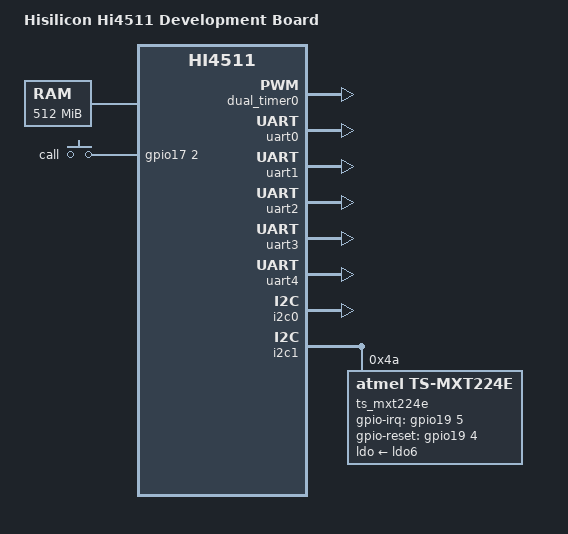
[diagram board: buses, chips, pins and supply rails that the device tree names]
/*
 *  Copyright (C) 2012-2013 Linaro Ltd.
 *  Author: Haojian Zhuang <haojian.zhuang@linaro.org>
 *
 *  This program is free software; you can redistribute it and/or modify
 *  it under the terms of the GNU General Public License version 2 as
 *  publishhed by the Free Software Foundation.
 */

/dts-v1/;

#include "hi3620.dtsi"

/ {
	model = "Hisilicon Hi4511 Development Board";
	compatible = "hisilicon,hi3620-hi4511";

	chosen {
		bootargs = "console=ttyAMA0,115200 root=/dev/ram0 earlyprintk";
	};

	memory {
		device_type = "memory";
		reg = <0x40000000 0x20000000>;
	};

	amba {
		dual_timer0: dual_timer@800000 {
			status = "ok";
		};

		uart0: uart@b00000 {	/* console */
			pinctrl-names = "default", "idle";
			pinctrl-0 = <&uart0_pmx_func &uart0_cfg_func>;
			pinctrl-1 = <&uart0_pmx_idle &uart0_cfg_idle>;
			status = "ok";
		};

		uart1: uart@b01000 { /* modem */
			pinctrl-names = "default", "idle";
			pinctrl-0 = <&uart1_pmx_func &uart1_cfg_func>;
			pinctrl-1 = <&uart1_pmx_idle &uart1_cfg_idle>;
			status = "ok";
		};

		uart2: uart@b02000 { /* audience */
			pinctrl-names = "default", "idle";
			pinctrl-0 = <&uart2_pmx_func &uart2_cfg_func>;
			pinctrl-1 = <&uart2_pmx_idle &uart2_cfg_idle>;
			status = "ok";
		};

		uart3: uart@b03000 {
			pinctrl-names = "default", "idle";
			pinctrl-0 = <&uart3_pmx_func &uart3_cfg_func>;
			pinctrl-1 = <&uart3_pmx_idle &uart3_cfg_idle>;
			status = "ok";
		};

		uart4: uart@b04000 {
			pinctrl-names = "default", "idle";
			pinctrl-0 = <&uart4_pmx_func &uart4_cfg_func>;
			pinctrl-1 = <&uart4_pmx_idle &uart4_cfg_func>;
			status = "ok";
		};

		i2c0: i2c@b08000 {
			status = "ok";
			pinctrl-names = "default", "idle";
			pinctrl-0 = <&i2c0_pmx_func &i2c0_cfg_func>;
			pinctrl-1 = <&i2c0_pmx_idle &i2c0_cfg_func>;
		};

		i2c1: i2c@b09000 {
			status = "ok";
			pinctrl-names = "default";
			pinctrl-0 = <&i2c1_pmx_func &i2c1_cfg_func>;
			ts_mxt224e: ts@4a {
				compatible = "atmel,ts-mxt224e";
				reg = <0x4a>;
				ldo-supply = <&ldo6>;
				pinctrl-names = "default";
				pinctrl-0 = <&ts_pin_cfg>;
				atmel-ts,gpio-irq = <&gpio19 5 0>;
				atmel-ts,gpio-reset = <&gpio19 4 0>;
				/* min max: x y pressure width */
				atmel-ts,abs = <0 719 0 1279 0 255 0 255>;
				atmel-ts,cfg_t6 = /bits/ 8 <0 0 0 0 0 0>;
				atmel-ts,cfg_t7 = /bits/ 8 <32 255 10>;
				atmel-ts,cfg_t8 = /bits/ 8 <24 0 1 10 0 0 5 60 10 192>;
				atmel-ts,cfg_t9 = /bits/ 8 <143 0 0 19 11 0 32 66 2 3 0 2 2 47 10 15 22 10 106 5
									207 2 0 0 0 0 161 40 183 64 30 20 0 0 1>;
				atmel-ts,cfg_t15 = /bits/ 8 <0 0 0 0 0 0 0 0 0 0 0>;
				atmel-ts,cfg_t19 = /bits/ 8 <0 0 0 0 0 0 0 0 0 0 0 0 0 0 0 0>;
				atmel-ts,cfg_t23 = /bits/ 8 <0 0 0 0 0 0 0 0 0 0 0 0 0 0 0>;
				atmel-ts,cfg_t25 = /bits/ 8 <0 0 0 0 0 0 0 0 0 0 0 0 0 0>;
				atmel-ts,cfg_t40 = /bits/ 8 <0 0 0 0 0>;
				atmel-ts,cfg_t42 = /bits/ 8 <0 40 40 80 128 0 0 0>;
				atmel-ts,cfg_t46 = /bits/ 8 <0 3 32 32 0 0 0 0 0>;
				atmel-ts,cfg_t47 = /bits/ 8 <0 20 50 5 2 40 40 180 0 100>;
				atmel-ts,cfg_t48 = /bits/ 8 <1 4 10 0 0 0 0 0 1 1 0 0 0 6 6 0 0 63 6 64
						10 0 20 5 0 38 0 20 0 0 0 0 0 0 0 40 2 2 2 32
						10 12 20 241 251 0 0 191 40 183 64 30 15 0>;
				atmel-ts,object_crc = /bits/ 8 <0xFD 0x3B 0x8D>;
				atmel-ts,cable_config = /bits/ 8 <70 30 32 32>;
				atmel-ts,cable_config_t7 = /bits/ 8 <32 16 25>;
				atmel-ts,cable_config_t8 = /bits/ 8 <24 0 5 5 0 0 5 60 10 192>;
				atmel-ts,cable_config_T9 = /bits/ 8 <139 0 0 19 11 0 32 66 2 3 0 5 2 64 10
					12 20 10 106 5 207 2 0 0 0 0 161 40 183 64 30 20 0 0 0>;
				atmel-ts,cable_config_t46 = /bits/ 8 <0 3 40 40 0 0 0 0 0>;
				atmel-ts,cable_config_t48 = /bits/ 8 <1 128 114 0 0 0 0 0 1 2 0 0 0 6 6
					0 0 63 6 64 10 0 20 5 0 38 0 20 0 0 0 0 0 0 0
					40 2 2 2 32 10 12 20 241 251 0 0 191 40 183 64 30 15 0>;
				atmel-ts,noise_config = /bits/ 8 <70 3 35>;
				atmel-ts,filter_level = /bits/ 16 <0 0 539 539>;
				atmel-ts,gcaf_level = /bits/ 8 <8 16 24 32 40>;
				atmel-ts,atch_nor = /bits/ 8 <0 0 5 60 10 192>;
				atmel-ts,atch_nor_20s = /bits/ 8 <0 0 255 1 0 0>;
			};
		};

		dwmmc1@d04000 {
			num-slots = <1>;
			vmmc-supply = <&ldo0>;
			vqmmc-supply = <&ldo5>;
			/* emmc fifo register value is incorrect */
			fifo-depth = <0x100>;
			broken-cd;
			supports-highspeed;
			pinctrl-names = "default";
			pinctrl-0 = <&emmc_pmx_func &emmc_cfg_func &emmc_cfg_clk_func>;
			slot@0 {
				reg = <0>;
				bus-width = <8>;
				disable-wp;
			};
		};

		dwmmc0@d03000 {
			num-slots = <1>;
			vmmc-supply = <&ldo12>;
			fifo-depth = <0x100>;
			supports-highspeed;
			cd-inverted;
			pinctrl-names = "default";
			pinctrl-0 = <&sd_pmx_pins &sd_cfg_func1 &sd_cfg_func2>;
			slot@0 {
				reg = <0>;
				bus-width = <4>;
				disable-wp;
				cd-gpios = <&gpio10 3 0>;
			};
		};

		dwmmc2@d05000 {
			status = "disabled";
		};

		dwmmc3@d06000 {
			status = "disabled";
		};
		pmic: pmic@c00000 {
			gpios = <&gpio19 7 0>;
			pinctrl-names = "default";
			pinctrl-0 = <&pmic_int_cfg_func>;
			ldo0: ldo@20 {
				compatible = "hisilicon,hi6421-ldo";
				regulator-name = "LDO0";
				regulator-min-microvolt = <2850000>;
				regulator-max-microvolt = <2850000>;
				hisilicon,hi6421-ctrl = <0x20 0x10 0x20>;
				hisilicon,hi6421-vset = <0x20 0x07>;
				hisilicon,hi6421-n-voltages = <8>;
				hisilicon,hi6421-vset-table = <1500000>, <1800000>,
							      <2400000>, <2500000>,
							      <2600000>, <2700000>,
							      <2850000>, <3000000>;
				hisilicon,hi6421-off-on-delay-us = <10000>;
				hisilicon,hi6421-enable-time-us = <250>;
				hisilicon,hi6421-eco-microamp = <8000>;
			};

			ldo1: ldo@21 {
				compatible = "hisilicon,hi6421-ldo";
				regulator-name = "LDO1";
				regulator-min-microvolt = <1700000>;
				regulator-max-microvolt = <2000000>;
				regulator-boot-on;
				regulator-always-on;
				hisilicon,hi6421-ctrl = <0x21 0x10 0x20>;
				hisilicon,hi6421-vset = <0x21 0x03>;
				hisilicon,hi6421-n-voltages = <4>;
				hisilicon,hi6421-vset-table = <1700000>, <1800000>,
							      <1900000>, <2000000>;
				hisilicon,hi6421-off-on-delay-us = <10000>;
				hisilicon,hi6421-enable-time-us = <250>;
				hisilicon,hi6421-eco-microamp = <5000>;
			};

			ldo2: ldo@22 {
				compatible = "hisilicon,hi6421-ldo";
				regulator-name = "LDO2";
				regulator-min-microvolt = <1050000>;
				regulator-max-microvolt = <1400000>;
				regulator-boot-on;
				regulator-always-on;
				hisilicon,hi6421-ctrl = <0x22 0x10 0x20>;
				hisilicon,hi6421-vset = <0x22 0x07>;
				hisilicon,hi6421-n-voltages = <8>;
				hisilicon,hi6421-vset-table = <1050000>, <1100000>,
							      <1150000>, <1200000>,
							      <1250000>, <1300000>,
							      <1350000>, <1400000>;
				hisilicon,hi6421-off-on-delay-us = <20000>;
				hisilicon,hi6421-enable-time-us = <250>;
				hisilicon,hi6421-eco-microamp = <8000>;
			};

			ldo3: ldo@23 {
				compatible = "hisilicon,hi6421-ldo";
				regulator-name = "LDO3";
				regulator-min-microvolt = <1050000>;
				regulator-max-microvolt = <1400000>;
				regulator-boot-on;
				regulator-always-on;
				hisilicon,hi6421-ctrl = <0x23 0x10 0x20>;
				hisilicon,hi6421-vset = <0x23 0x07>;
				hisilicon,hi6421-n-voltages = <8>;
				hisilicon,hi6421-vset-table = <1050000>, <1100000>,
							      <1150000>, <1200000>,
							      <1250000>, <1300000>,
							      <1350000>, <1400000>;
				hisilicon,hi6421-off-on-delay-us = <20000>;
				hisilicon,hi6421-enable-time-us = <250>;
				hisilicon,hi6421-eco-microamp = <8000>;
			};

			ldo4: ldo@24 {
				compatible = "hisilicon,hi6421-ldo";
				regulator-name = "LDO4";
				regulator-min-microvolt = <1500000>;
				regulator-max-microvolt = <3000000>;
				regulator-boot-on;
				regulator-always-on;
				hisilicon,hi6421-ctrl = <0x24 0x10 0x20>;
				hisilicon,hi6421-vset = <0x24 0x07>;
				hisilicon,hi6421-n-voltages = <8>;
				hisilicon,hi6421-vset-table = <1500000>, <1800000>,
							      <2400000>, <2500000>,
							      <2600000>, <2700000>,
							      <2850000>, <3000000>;
				hisilicon,hi6421-off-on-delay-us = <20000>;
				hisilicon,hi6421-enable-time-us = <250>;
				hisilicon,hi6421-eco-microamp = <8000>;
			};

			ldo5: ldo@25 {
				compatible = "hisilicon,hi6421-ldo";
				regulator-name = "LDO5";
				regulator-min-microvolt = <1500000>;
				regulator-max-microvolt = <3000000>;
				regulator-boot-on;
				regulator-always-on;
				hisilicon,hi6421-ctrl = <0x25 0x10 0x20>;
				hisilicon,hi6421-vset = <0x25 0x07>;
				hisilicon,hi6421-n-voltages = <8>;
				hisilicon,hi6421-vset-table = <1500000>, <1800000>,
							      <2400000>, <2500000>,
							      <2600000>, <2700000>,
							      <2850000>, <3000000>;
				hisilicon,hi6421-off-on-delay-us = <20000>;
				hisilicon,hi6421-enable-time-us = <250>;
				hisilicon,hi6421-eco-microamp = <8000>;
			};

			ldo6: ldo@26 {
				compatible = "hisilicon,hi6421-ldo";
				regulator-name = "LDO6";
				regulator-min-microvolt = <1500000>;
				regulator-max-microvolt = <3000000>;
				regulator-boot-on;
				regulator-always-on;
				hisilicon,hi6421-ctrl = <0x26 0x10 0x20>;
				hisilicon,hi6421-vset = <0x26 0x07>;
				hisilicon,hi6421-n-voltages = <8>;
				hisilicon,hi6421-vset-table = <1500000>, <1800000>,
							      <2400000>, <2500000>,
							      <2600000>, <2700000>,
							      <2850000>, <3000000>;
				hisilicon,hi6421-off-on-delay-us = <20000>;
				hisilicon,hi6421-enable-time-us = <250>;
				hisilicon,hi6421-eco-microamp = <8000>;
			};

			ldo7: ldo@27 {
				compatible = "hisilicon,hi6421-ldo";
				regulator-name = "LDO7";
				regulator-min-microvolt = <1500000>;
				regulator-max-microvolt = <3000000>;
				regulator-boot-on;
				regulator-always-on;
				hisilicon,hi6421-ctrl = <0x27 0x10 0x20>;
				hisilicon,hi6421-vset = <0x27 0x07>;
				hisilicon,hi6421-n-voltages = <8>;
				hisilicon,hi6421-vset-table = <1500000>, <1800000>,
							      <2400000>, <2500000>,
							      <2600000>, <2700000>,
							      <2850000>, <3000000>;
				hisilicon,hi6421-off-on-delay-us = <20000>;
				hisilicon,hi6421-enable-time-us = <250>;
				hisilicon,hi6421-eco-microamp = <5000>;
			};

			ldo8: ldo@28 {
				compatible = "hisilicon,hi6421-ldo";
				regulator-name = "LDO8";
				regulator-min-microvolt = <1500000>;
				regulator-max-microvolt = <3300000>;
				regulator-boot-on;
				regulator-always-on;
				hisilicon,hi6421-ctrl = <0x28 0x10 0x20>;
				hisilicon,hi6421-vset = <0x28 0x07>;
				hisilicon,hi6421-n-voltages = <8>;
				hisilicon,hi6421-vset-table = <1500000>, <1800000>,
							      <2400000>, <2600000>,
							      <2700000>, <2850000>,
							      <3000000>, <3300000>;
				hisilicon,hi6421-off-on-delay-us = <20000>;
				hisilicon,hi6421-enable-time-us = <250>;
				hisilicon,hi6421-eco-microamp = <8000>;
			};

			ldo9: ldo@29 {
				compatible = "hisilicon,hi6421-ldo";
				regulator-name = "LDO9";
				regulator-min-microvolt = <1500000>;
				regulator-max-microvolt = <3000000>;
				hisilicon,hi6421-ctrl = <0x29 0x10 0x20>;
				hisilicon,hi6421-vset = <0x29 0x07>;
				hisilicon,hi6421-n-voltages = <8>;
				hisilicon,hi6421-vset-table = <1500000>, <1800000>,
							      <2400000>, <2500000>,
							      <2600000>, <2700000>,
							      <2850000>, <3000000>;
				hisilicon,hi6421-off-on-delay-us = <40000>;
				hisilicon,hi6421-enable-time-us = <250>;
				hisilicon,hi6421-eco-microamp = <8000>;
			};

			ldo10: ldo@2a {
				compatible = "hisilicon,hi6421-ldo";
				regulator-name = "LDO10";
				regulator-min-microvolt = <1500000>;
				regulator-max-microvolt = <3000000>;
				hisilicon,hi6421-ctrl = <0x2a 0x10 0x20>;
				hisilicon,hi6421-vset = <0x2a 0x07>;
				hisilicon,hi6421-n-voltages = <8>;
				hisilicon,hi6421-vset-table = <1500000>, <1800000>,
							      <2400000>, <2500000>,
							      <2600000>, <2700000>,
							      <2850000>, <3000000>;
				hisilicon,hi6421-off-on-delay-us = <40000>;
				hisilicon,hi6421-enable-time-us = <250>;
				hisilicon,hi6421-eco-microamp = <8000>;
			};

			ldo11: ldo@2b {
				compatible = "hisilicon,hi6421-ldo";
				regulator-name = "LDO11";
				regulator-min-microvolt = <1500000>;
				regulator-max-microvolt = <3000000>;
				hisilicon,hi6421-ctrl = <0x2b 0x10 0x20>;
				hisilicon,hi6421-vset = <0x2b 0x07>;
				hisilicon,hi6421-n-voltages = <8>;
				hisilicon,hi6421-vset-table = <1500000>, <1800000>,
							      <2400000>, <2500000>,
							      <2600000>, <2700000>,
							      <2850000>, <3000000>;
				hisilicon,hi6421-off-on-delay-us = <40000>;
				hisilicon,hi6421-enable-time-us = <250>;
				hisilicon,hi6421-eco-microamp = <8000>;
			};

			ldo12: ldo@2c {
				compatible = "hisilicon,hi6421-ldo";
				regulator-name = "LDO12";
				regulator-min-microvolt = <2850000>;
				regulator-max-microvolt = <2850000>;
				hisilicon,hi6421-ctrl = <0x2c 0x10 0x20>;
				hisilicon,hi6421-vset = <0x2c 0x07>;
				hisilicon,hi6421-n-voltages = <8>;
				hisilicon,hi6421-vset-table = <1500000>, <1800000>,
							      <2400000>, <2500000>,
							      <2600000>, <2700000>,
							      <2850000>, <3000000>;
				hisilicon,hi6421-off-on-delay-us = <40000>;
				hisilicon,hi6421-enable-time-us = <250>;
				hisilicon,hi6421-eco-microamp = <8000>;
			};

			ldo13: ldo@2d {
				compatible = "hisilicon,hi6421-ldo";
				regulator-name = "LDO13";
				regulator-min-microvolt = <1500000>;
				regulator-max-microvolt = <3000000>;
				hisilicon,hi6421-ctrl = <0x2d 0x10 0x20>;
				hisilicon,hi6421-vset = <0x2d 0x07>;
				hisilicon,hi6421-n-voltages = <8>;
				hisilicon,hi6421-vset-table = <1500000>, <1800000>,
							      <2400000>, <2500000>,
							      <2600000>, <2700000>,
							      <2850000>, <3000000>;
				hisilicon,hi6421-off-on-delay-us = <40000>;
				hisilicon,hi6421-enable-time-us = <250>;
				hisilicon,hi6421-eco-microamp = <8000>;
			};

			ldo14: ldo@2e {
				compatible = "hisilicon,hi6421-ldo";
				regulator-name = "LDO14";
				regulator-min-microvolt = <1500000>;
				regulator-max-microvolt = <3000000>;
				hisilicon,hi6421-ctrl = <0x2e 0x10 0x20>;
				hisilicon,hi6421-vset = <0x2e 0x07>;
				hisilicon,hi6421-n-voltages = <8>;
				hisilicon,hi6421-vset-table = <1500000>, <1800000>,
							      <2400000>, <2500000>,
							      <2600000>, <2700000>,
							      <2850000>, <3000000>;
				hisilicon,hi6421-off-on-delay-us = <40000>;
				hisilicon,hi6421-enable-time-us = <250>;
				hisilicon,hi6421-eco-microamp = <8000>;
			};

			ldo15: ldo@2f {
				compatible = "hisilicon,hi6421-ldo";
				regulator-name = "LDO15";
				regulator-min-microvolt = <1500000>;
				regulator-max-microvolt = <3300000>;
				hisilicon,hi6421-ctrl = <0x2f 0x10 0x20>;
				hisilicon,hi6421-vset = <0x2f 0x07>;
				hisilicon,hi6421-n-voltages = <8>;
				hisilicon,hi6421-vset-table = <1500000>, <1800000>,
							      <2400000>, <2600000>,
							      <2700000>, <2850000>,
							      <3000000>, <3300000>;
				hisilicon,hi6421-off-on-delay-us = <40000>;
				hisilicon,hi6421-enable-time-us = <250>;
				hisilicon,hi6421-eco-microamp = <8000>;
			};

			ldo16: ldo@30 {
				compatible = "hisilicon,hi6421-ldo";
				regulator-name = "LDO16";
				regulator-min-microvolt = <1500000>;
				regulator-max-microvolt = <3000000>;
				regulator-always-on;
				hisilicon,hi6421-ctrl = <0x30 0x10 0x20>;
				hisilicon,hi6421-vset = <0x30 0x07>;
				hisilicon,hi6421-n-voltages = <8>;
				hisilicon,hi6421-vset-table = <1500000>, <1800000>,
							      <2400000>, <2500000>,
							      <2600000>, <2700000>,
							      <2850000>, <3000000>;
				hisilicon,hi6421-off-on-delay-us = <40000>;
				hisilicon,hi6421-enable-time-us = <250>;
				hisilicon,hi6421-eco-microamp = <8000>;
			};

			ldo17: ldo@31 {
				compatible = "hisilicon,hi6421-ldo";
				regulator-name = "LDO17";
				regulator-min-microvolt = <1500000>;
				regulator-max-microvolt = <3000000>;
				regulator-always-on;
				hisilicon,hi6421-ctrl = <0x31 0x10 0x20>;
				hisilicon,hi6421-vset = <0x31 0x07>;
				hisilicon,hi6421-n-voltages = <8>;
				hisilicon,hi6421-vset-table = <1500000>, <1800000>,
							      <2400000>, <2500000>,
							      <2600000>, <2700000>,
							      <2850000>, <3000000>;
				hisilicon,hi6421-off-on-delay-us = <40000>;
				hisilicon,hi6421-enable-time-us = <250>;
				hisilicon,hi6421-eco-microamp = <8000>;
			};

			ldo18: ldo@32 {
				compatible = "hisilicon,hi6421-ldo";
				regulator-name = "LDO18";
				regulator-min-microvolt = <1500000>;
				regulator-max-microvolt = <3000000>;
				hisilicon,hi6421-ctrl = <0x32 0x10 0x20>;
				hisilicon,hi6421-vset = <0x32 0x07>;
				hisilicon,hi6421-n-voltages = <8>;
				hisilicon,hi6421-vset-table = <1500000>, <1800000>,
							      <2400000>, <2500000>,
							      <2600000>, <2700000>,
							      <2850000>, <3000000>;
				hisilicon,hi6421-off-on-delay-us = <40000>;
				hisilicon,hi6421-enable-time-us = <250>;
				hisilicon,hi6421-eco-microamp = <8000>;
			};

			ldo19: ldo@33 {
				compatible = "hisilicon,hi6421-ldo";
				regulator-name = "LDO19";
				regulator-min-microvolt = <1500000>;
				regulator-max-microvolt = <3000000>;
				hisilicon,hi6421-ctrl = <0x2a 0x10 0x20>;
				hisilicon,hi6421-vset = <0x2a 0x07>;
				hisilicon,hi6421-n-voltages = <8>;
				hisilicon,hi6421-vset-table = <1500000>, <1800000>,
							      <2400000>, <2500000>,
							      <2600000>, <2700000>,
							      <2850000>, <3000000>;
				hisilicon,hi6421-off-on-delay-us = <40000>;
				hisilicon,hi6421-enable-time-us = <250>;
				hisilicon,hi6421-eco-microamp = <8000>;
			};

			ldo20: ldo@34 {
				compatible = "hisilicon,hi6421-ldo";
				regulator-name = "LDO20";
				regulator-min-microvolt = <1500000>;
				regulator-max-microvolt = <3000000>;
				hisilicon,hi6421-ctrl = <0x34 0x10 0x20>;
				hisilicon,hi6421-vset = <0x34 0x07>;
				hisilicon,hi6421-n-voltages = <8>;
				hisilicon,hi6421-vset-table = <1500000>, <1800000>,
							      <2400000>, <2500000>,
							      <2600000>, <2700000>,
							      <2850000>, <3000000>;
				hisilicon,hi6421-off-on-delay-us = <40000>;
				hisilicon,hi6421-enable-time-us = <250>;
				hisilicon,hi6421-eco-microamp = <8000>;
			};

			ldoaudio: ldo@36 {
				compatible = "hisilicon,hi6421-ldo";
				regulator-name = "LDOAUDIO";
				regulator-min-microvolt = <2800000>;
				regulator-max-microvolt = <3300000>;
				hisilicon,hi6421-ctrl = <0x36 0x01 0x02>;
				hisilicon,hi6421-vset = <0x36 0x70>;
				hisilicon,hi6421-n-voltages = <8>;
				hisilicon,hi6421-vset-table = <2800000>, <2850000>,
							      <2900000>, <2950000>,
							      <3000000>, <3100000>,
							      <3200000>, <3300000>;
				hisilicon,hi6421-off-on-delay-us = <40000>;
				hisilicon,hi6421-enable-time-us = <250>;
				hisilicon,hi6421-eco-microamp = <5000>;
			};

			buck0: buck@0c {
				compatible = "hisilicon,hi6421-buck012";
				regulator-name = "BUCK0";
				regulator-min-microvolt = <700000>;
				regulator-max-microvolt = <1600000>;
				regulator-boot-on;
				regulator-always-on;
				hisilicon,hi6421-ctrl = <0x0c 0x01 0x10>;
				hisilicon,hi6421-vset = <0x0d 0x7f>;
				hisilicon,hi6421-n-voltages = <128>;
				hisilicon,hi6421-uv-step = <7086>;
				hisilicon,hi6421-off-on-delay-us = <20000>;
				hisilicon,hi6421-enable-time-us = <300>;
			};

			buck1: buck@0e {
				compatible = "hisilicon,hi6421-buck012";
				regulator-name = "BUCK1";
				regulator-min-microvolt = <700000>;
				regulator-max-microvolt = <1600000>;
				regulator-boot-on;
				regulator-always-on;
				hisilicon,hi6421-ctrl = <0x0e 0x01 0x10>;
				hisilicon,hi6421-vset = <0x0f 0x7f>;
				hisilicon,hi6421-n-voltages = <128>;
				hisilicon,hi6421-uv-step = <7086>;
				hisilicon,hi6421-off-on-delay-us = <20000>;
				hisilicon,hi6421-enable-time-us = <300>;
			};

			buck2: buck@10 {
				compatible = "hisilicon,hi6421-buck012";
				regulator-name = "BUCK2";
				regulator-min-microvolt = <700000>;
				regulator-max-microvolt = <1600000>;
				regulator-boot-on;
				hisilicon,hi6421-ctrl = <0x10 0x01 0x10>;
				hisilicon,hi6421-vset = <0x11 0x7f>;
				hisilicon,hi6421-n-voltages = <128>;
				hisilicon,hi6421-uv-step = <7086>;
				hisilicon,hi6421-off-on-delay-us = <100>;
				hisilicon,hi6421-enable-time-us = <250>;
			};

			buck3: buck@12 {
				compatible = "hisilicon,hi6421-buck345";
				regulator-name = "BUCK3";
				regulator-min-microvolt = <950000>;
				regulator-max-microvolt = <1200000>;
				regulator-boot-on;
				regulator-always-on;
				hisilicon,hi6421-ctrl = <0x12 0x01 0x10>;
				hisilicon,hi6421-vset = <0x13 0x07>;
				hisilicon,hi6421-n-voltages = <8>;
				hisilicon,hi6421-vset-table = <950000>, <1050000>,
							      <1100000>, <1170000>,
							      <1134000>, <1150000>,
							      <1167000>, <1200000>;
				hisilicon,hi6421-off-on-delay-us = <20000>;
				hisilicon,hi6421-enable-time-us = <250>;
			};

			buck4: buck@14 {
				compatible = "hisilicon,hi6421-buck345";
				regulator-name = "BUCK4";
				regulator-min-microvolt = <1150000>;
				regulator-max-microvolt = <2000000>;
				regulator-boot-on;
				regulator-always-on;
				hisilicon,hi6421-ctrl = <0x14 0x01 0x10>;
				hisilicon,hi6421-vset = <0x15 0x07>;
				hisilicon,hi6421-n-voltages = <8>;
				hisilicon,hi6421-vset-table = <1150000>, <1200000>,
							      <1250000>, <1350000>,
							      <1700000>, <1800000>,
							      <1900000>, <2000000>;
				hisilicon,hi6421-off-on-delay-us = <20000>;
				hisilicon,hi6421-enable-time-us = <250>;
			};

			buck5: buck@16 {
				compatible = "hisilicon,hi6421-buck345";
				regulator-name = "BUCK5";
				regulator-min-microvolt = <1150000>;
				regulator-max-microvolt = <1900000>;
				regulator-boot-on;
				regulator-always-on;
				hisilicon,hi6421-ctrl = <0x16 0x01 0x10>;
				hisilicon,hi6421-vset = <0x17 0x07>;
				hisilicon,hi6421-n-voltages = <8>;
				hisilicon,hi6421-vset-table = <1150000>, <1200000>,
							      <1250000>, <1350000>,
							      <1600000>, <1700000>,
							      <1800000>, <1900000>;
				hisilicon,hi6421-off-on-delay-us = <20000>;
				hisilicon,hi6421-enable-time-us = <250>;
			};

			onkey {
				compatible = "hisilicon,hi6421-onkey";
				interrupt-parent = <&pmic>;
				interrupts = <7 0>, <6 0>, <5 0>, <4 0>;
				interrupt-names = "down", "up", "hold 1s", "hold 10s";
			};

			rtc {
				compatible = "hisilicon,hi6421-rtc";
				interrupt-parent = <&pmic>;
				interrupts = <0 0>;
			};
		}; /* end of pmic */

		pmx0: pinmux@803000 {
			pinctrl-names = "default";
			pinctrl-0 = <&board_pmx_pins>;

			board_pmx_pins: board_pmx_pins {
				pinctrl-single,pins = <
					0x008 0x0	/* GPIO -- eFUSE_DOUT */
					0x100 0x0	/* USIM_CLK & USIM_DATA (IOMG63) */
				>;
			};
			sd_pmx_pins: pinmux_sd_pins {
				pinctrl-single,pins = <
					0x0bc 0x0	/* SD_CLK, SD_CMD, SD_DATA[0:2] */
					0x0c0 0x0	/* SD_DATA[3] */
				>;
			};
			uart0_pmx_func: uart0_pmx_func {
				pinctrl-single,pins = <
					0x0f0 0x0
					0x0f4 0x0	/* UART0_RX & UART0_TX */
				>;
			};
			uart0_pmx_idle: uart0_pmx_idle {
				pinctrl-single,pins = <
					/*0x0f0 0x1*/	/* UART0_CTS & UART0_RTS */
					0x0f4 0x1	/* UART0_RX & UART0_TX */
				>;
			};
			uart1_pmx_func: uart1_pmx_func {
				pinctrl-single,pins = <
					0x0f8 0x0	/* UART1_CTS & UART1_RTS (IOMG61) */
					0x0fc 0x0	/* UART1_RX & UART1_TX (IOMG62) */
				>;
			};
			uart1_pmx_idle: uart1_pmx_idle {
				pinctrl-single,pins = <
					0x0f8 0x1	/* GPIO (IOMG61) */
					0x0fc 0x1	/* GPIO (IOMG62) */
				>;
			};
			uart2_pmx_func: uart2_pmx_func {
				pinctrl-single,pins = <
					0x104 0x2	/* UART2_RXD (IOMG96) */
					0x108 0x2	/* UART2_TXD (IOMG64) */
				>;
			};
			uart2_pmx_idle: uart2_pmx_idle {
				pinctrl-single,pins = <
					0x104 0x1	/* GPIO (IOMG96) */
					0x108 0x1	/* GPIO (IOMG64) */
				>;
			};
			uart3_pmx_func: uart3_pmx_func {
				pinctrl-single,pins = <
					0x160 0x2	/* UART3_CTS & UART3_RTS (IOMG85) */
					0x164 0x2	/* UART3_RXD & UART3_TXD (IOMG86) */
				>;
			};
			uart3_pmx_idle: uart3_pmx_idle {
				pinctrl-single,pins = <
					0x160 0x1	/* GPIO (IOMG85) */
					0x164 0x1	/* GPIO (IOMG86) */
				>;
			};
			uart4_pmx_func: uart4_pmx_func {
				pinctrl-single,pins = <
					0x168 0x0	/* UART4_CTS & UART4_RTS (IOMG87) */
					0x16c 0x0	/* UART4_RXD (IOMG88) */
					0x170 0x0	/* UART4_TXD (IOMG93) */
				>;
			};
			uart4_pmx_idle: uart4_pmx_idle {
				pinctrl-single,pins = <
					0x168 0x1	/* GPIO (IOMG87) */
					0x16c 0x1	/* GPIO (IOMG88) */
					0x170 0x1	/* GPIO (IOMG93) */
				>;
			};
			i2c0_pmx_func: i2c0_pmx_func {
				pinctrl-single,pins = <
					0x0b4 0x0	/* I2C0_SCL & I2C0_SDA (IOMG45) */
				>;
			};
			i2c0_pmx_idle: i2c0_pmx_idle {
				pinctrl-single,pins = <
					0x0b4 0x1	/* GPIO (IOMG45) */
				>;
			};
			i2c1_pmx_func: i2c1_pmx_func {
				pinctrl-single,pins = <
					0x0b8 0x0	/* I2C1_SCL & I2C1_SDA (IOMG46) */
				>;
			};
			i2c1_pmx_idle: i2c1_pmx_idle {
				pinctrl-single,pins = <
					0x0b8 0x1	/* GPIO (IOMG46) */
				>;
			};
			i2c2_pmx_func: i2c2_pmx_func {
				pinctrl-single,pins = <
					0x068 0x0	/* I2C2_SCL (IOMG26) */
					0x06c 0x0	/* I2C2_SDA (IOMG27) */
				>;
			};
			i2c2_pmx_idle: i2c2_pmx_idle {
				pinctrl-single,pins = <
					0x068 0x1	/* GPIO (IOMG26) */
					0x06c 0x1	/* GPIO (IOMG27) */
				>;
			};
			i2c3_pmx_func: i2c3_pmx_func {
				pinctrl-single,pins = <
					0x050 0x2	/* I2C3_SCL (IOMG20) */
					0x054 0x2	/* I2C3_SDA (IOMG21) */
				>;
			};
			i2c3_pmx_idle: i2c3_pmx_idle {
				pinctrl-single,pins = <
					0x050 0x1	/* GPIO (IOMG20) */
					0x054 0x1	/* GPIO (IOMG21) */
				>;
			};
			spi0_pmx_func: spi0_pmx_func {
				pinctrl-single,pins = <
					0x0d4 0x0	/* SPI0_CLK/SPI0_DI/SPI0_DO (IOMG53) */
					0x0d8 0x0	/* SPI0_CS0 (IOMG54) */
					0x0dc 0x0	/* SPI0_CS1 (IOMG55) */
					0x0e0 0x0	/* SPI0_CS2 (IOMG56) */
					0x0e4 0x0	/* SPI0_CS3 (IOMG57) */
				>;
			};
			spi0_pmx_idle: spi0_pmx_idle {
				pinctrl-single,pins = <
					0x0d4 0x1	/* GPIO (IOMG53) */
					0x0d8 0x1	/* GPIO (IOMG54) */
					0x0dc 0x1	/* GPIO (IOMG55) */
					0x0e0 0x1	/* GPIO (IOMG56) */
					0x0e4 0x1	/* GPIO (IOMG57) */
				>;
			};
			spi1_pmx_func: spi1_pmx_func {
				pinctrl-single,pins = <
					0x184 0x0	/* SPI1_CLK/SPI1_DI (IOMG98) */
					0x0e8 0x0	/* SPI1_DO (IOMG58) */
					0x0ec 0x0	/* SPI1_CS (IOMG95) */
				>;
			};
			spi1_pmx_idle: spi1_pmx_idle {
				pinctrl-single,pins = <
					0x184 0x1	/* GPIO (IOMG98) */
					0x0e8 0x1	/* GPIO (IOMG58) */
					0x0ec 0x1	/* GPIO (IOMG95) */
				>;
			};
			kpc_pmx_func: kpc_pmx_func {
				pinctrl-single,pins = <
					0x12c 0x0	/* KEY_IN0 (IOMG73) */
					0x130 0x0	/* KEY_IN1 (IOMG74) */
					0x134 0x0	/* KEY_IN2 (IOMG75) */
					0x10c 0x0	/* KEY_OUT0 (IOMG65) */
					0x110 0x0	/* KEY_OUT1 (IOMG66) */
					0x114 0x0	/* KEY_OUT2 (IOMG67) */
				>;
			};
			kpc_pmx_idle: kpc_pmx_idle {
				pinctrl-single,pins = <
					0x12c 0x1	/* GPIO (IOMG73) */
					0x130 0x1	/* GPIO (IOMG74) */
					0x134 0x1	/* GPIO (IOMG75) */
					0x10c 0x1	/* GPIO (IOMG65) */
					0x110 0x1	/* GPIO (IOMG66) */
					0x114 0x1	/* GPIO (IOMG67) */
				>;
			};
			gpio_key_func: gpio_key_func {
				pinctrl-single,pins = <
					0x10c 0x1	/* KEY_OUT0/GPIO (IOMG65) */
					0x130 0x1	/* KEY_IN1/GPIO (IOMG74) */
				>;
			};
			emmc_pmx_func: emmc_pmx_func {
				pinctrl-single,pins = <
					0x030 0x2	/* eMMC_CMD/eMMC_CLK (IOMG12) */
					0x018 0x0	/* NAND_CS3_N (IOMG6) */
					0x024 0x0	/* NAND_BUSY2_N (IOMG8) */
					0x028 0x0	/* NAND_BUSY3_N (IOMG9) */
					0x02c 0x2	/* eMMC_DATA[0:7] (IOMG10) */
				>;
			};
			emmc_pmx_idle: emmc_pmx_idle {
				pinctrl-single,pins = <
					0x030 0x0	/* GPIO (IOMG12) */
					0x018 0x1	/* GPIO (IOMG6) */
					0x024 0x1	/* GPIO (IOMG8) */
					0x028 0x1	/* GPIO (IOMG9) */
					0x02c 0x1	/* GPIO (IOMG10) */
				>;
			};
			sd_pmx_func: sd_pmx_func {
				pinctrl-single,pins = <
					0x0bc 0x0	/* SD_CLK/SD_CMD/SD_DATA0/SD_DATA1/SD_DATA2 (IOMG47) */
					0x0c0 0x0	/* SD_DATA3 (IOMG48) */
				>;
			};
			sd_pmx_idle: sd_pmx_idle {
				pinctrl-single,pins = <
					0x0bc 0x1	/* GPIO (IOMG47) */
					0x0c0 0x1	/* GPIO (IOMG48) */
				>;
			};
			nand_pmx_func: nand_pmx_func {
				pinctrl-single,pins = <
					0x00c 0x0	/* NAND_ALE/NAND_CLE/.../NAND_DATA[0:7] (IOMG3) */
					0x010 0x0	/* NAND_CS1_N (IOMG4) */
					0x014 0x0	/* NAND_CS2_N (IOMG5) */
					0x018 0x0	/* NAND_CS3_N (IOMG6) */
					0x01c 0x0	/* NAND_BUSY0_N (IOMG94) */
					0x020 0x0	/* NAND_BUSY1_N (IOMG7) */
					0x024 0x0	/* NAND_BUSY2_N (IOMG8) */
					0x028 0x0	/* NAND_BUSY3_N (IOMG9) */
					0x02c 0x0	/* NAND_DATA[8:15] (IOMG10) */
				>;
			};
			nand_pmx_idle: nand_pmx_idle {
				pinctrl-single,pins = <
					0x00c 0x1	/* GPIO (IOMG3) */
					0x010 0x1	/* GPIO (IOMG4) */
					0x014 0x1	/* GPIO (IOMG5) */
					0x018 0x1	/* GPIO (IOMG6) */
					0x01c 0x1	/* GPIO (IOMG94) */
					0x020 0x1	/* GPIO (IOMG7) */
					0x024 0x1	/* GPIO (IOMG8) */
					0x028 0x1	/* GPIO (IOMG9) */
					0x02c 0x1	/* GPIO (IOMG10) */
				>;
			};
			sdio_pmx_func: sdio_pmx_func {
				pinctrl-single,pins = <
					0x0c4 0x0	/* SDIO_CLK/SDIO_CMD/SDIO_DATA[0:3] (IOMG49) */
				>;
			};
			sdio_pmx_idle: sdio_pmx_idle {
				pinctrl-single,pins = <
					0x0c4 0x1	/* GPIO (IOMG49) */
				>;
			};
			audio_out_pmx_func: audio_out_pmx_func {
				pinctrl-single,pins = <
					0x0f0 0x1	/* GPIO (IOMG59), audio spk & earphone */
				>;
			};
		};

		pmx1: pinmux@803800 {
			pinctrl-names = "default";
			pinctrl-0 = <	&board_pu_pins &board_pd_pins &board_pd_ps_pins
					&board_np_pins &board_ps_pins &kpc_cfg_func
					&audio_out_cfg_func>;
			board_pu_pins: board_pu_pins {
				pinctrl-single,pins = <
					0x014 0		/* GPIO_158 (IOCFG2) */
					0x018 0		/* GPIO_159 (IOCFG3) */
					0x01c 0		/* BOOT_MODE0 (IOCFG4) */
					0x020 0		/* BOOT_MODE1 (IOCFG5) */
				>;
				pinctrl-single,bias-pulldown = <0 2 0 2>;
				pinctrl-single,bias-pullup = <1 1 0 1>;
			};
			board_pd_pins: board_pd_pins {
				pinctrl-single,pins = <
					0x038 0		/* eFUSE_DOUT (IOCFG11) */
					0x150 0		/* ISP_GPIO8 (IOCFG93) */
					0x154 0		/* ISP_GPIO9 (IOCFG94) */
				>;
				pinctrl-single,bias-pulldown = <2 2 0 2>;
				pinctrl-single,bias-pullup = <0 1 0 1>;
			};
			board_pd_ps_pins: board_pd_ps_pins {
				pinctrl-single,pins = <
					0x2d8 0		/* CLK_OUT0 (IOCFG190) */
					0x004 0		/* PMU_SPI_DATA (IOCFG192) */
				>;
				pinctrl-single,bias-pulldown = <2 2 0 2>;
				pinctrl-single,bias-pullup = <0 1 0 1>;
				pinctrl-single,drive-strength = <0x30 0xf0>;
			};
			board_np_pins: board_np_pins {
				pinctrl-single,pins = <
					0x24c 0		/* KEYPAD_OUT7 (IOCFG155) */
				>;
				pinctrl-single,bias-pulldown = <0 2 0 2>;
				pinctrl-single,bias-pullup = <0 1 0 1>;
			};
			board_ps_pins: board_ps_pins {
				pinctrl-single,pins = <
					0x000 0		/* PMU_SPI_CLK (IOCFG191) */
					0x008 0		/* PMU_SPI_CS_N (IOCFG193) */
				>;
				pinctrl-single,drive-strength = <0x30 0xf0>;
			};
			uart0_cfg_func: uart0_cfg_func {
				pinctrl-single,pins = <
					0x208 0		/* UART0_RXD (IOCFG138) */
					0x20c 0		/* UART0_TXD (IOCFG139) */
				>;
				pinctrl-single,bias-pulldown = <0 2 0 2>;
				pinctrl-single,bias-pullup = <0 1 0 1>;
			};
			uart0_cfg_idle: uart0_cfg_idle {
				pinctrl-single,pins = <
					0x208 0		/* UART0_RXD (IOCFG138) */
					0x20c 0		/* UART0_TXD (IOCFG139) */
				>;
				pinctrl-single,bias-pulldown = <2 2 0 2>;
				pinctrl-single,bias-pullup = <0 1 0 1>;
			};
			uart1_cfg_func: uart1_cfg_func {
				pinctrl-single,pins = <
					0x210 0		/* UART1_CTS (IOCFG140) */
					0x214 0		/* UART1_RTS (IOCFG141) */
					0x218 0		/* UART1_RXD (IOCFG142) */
					0x21c 0		/* UART1_TXD (IOCFG143) */
				>;
				pinctrl-single,bias-pulldown = <0 2 0 2>;
				pinctrl-single,bias-pullup = <0 1 0 1>;
			};
			uart1_cfg_idle: uart1_cfg_idle {
				pinctrl-single,pins = <
					0x210 0		/* UART1_CTS (IOCFG140) */
					0x214 0		/* UART1_RTS (IOCFG141) */
					0x218 0		/* UART1_RXD (IOCFG142) */
					0x21c 0		/* UART1_TXD (IOCFG143) */
				>;
				pinctrl-single,bias-pulldown = <2 2 0 2>;
				pinctrl-single,bias-pullup = <0 1 0 1>;
			};
			uart2_cfg_func: uart2_cfg_func {
				pinctrl-single,pins = <
					0x220 0		/* UART2_CTS (IOCFG144) */
					0x224 0		/* UART2_RTS (IOCFG145) */
					0x228 0		/* UART2_RXD (IOCFG146) */
					0x22c 0		/* UART2_TXD (IOCFG147) */
				>;
				pinctrl-single,bias-pulldown = <0 2 0 2>;
				pinctrl-single,bias-pullup = <0 1 0 1>;
			};
			uart2_cfg_idle: uart2_cfg_idle {
				pinctrl-single,pins = <
					0x220 0		/* GPIO (IOCFG144) */
					0x224 0		/* GPIO (IOCFG145) */
					0x228 0		/* GPIO (IOCFG146) */
					0x22c 0		/* GPIO (IOCFG147) */
				>;
				pinctrl-single,bias-pulldown = <2 2 0 2>;
				pinctrl-single,bias-pullup = <0 1 0 1>;
			};
			uart3_cfg_func: uart3_cfg_func {
				pinctrl-single,pins = <
					0x294 0		/* UART3_CTS (IOCFG173) */
					0x298 0		/* UART3_RTS (IOCFG174) */
					0x29c 0		/* UART3_RXD (IOCFG175) */
					0x2a0 0		/* UART3_TXD (IOCFG176) */
				>;
				pinctrl-single,bias-pulldown = <0 2 0 2>;
				pinctrl-single,bias-pullup = <0 1 0 1>;
			};
			uart3_cfg_idle: uart3_cfg_idle {
				pinctrl-single,pins = <
					0x294 0		/* UART3_CTS (IOCFG173) */
					0x298 0		/* UART3_RTS (IOCFG174) */
					0x29c 0		/* UART3_RXD (IOCFG175) */
					0x2a0 0		/* UART3_TXD (IOCFG176) */
				>;
				pinctrl-single,bias-pulldown = <2 2 0 2>;
				pinctrl-single,bias-pullup = <0 1 0 1>;
			};
			uart4_cfg_func: uart4_cfg_func {
				pinctrl-single,pins = <
					0x2a4 0		/* UART4_CTS (IOCFG177) */
					0x2a8 0		/* UART4_RTS (IOCFG178) */
					0x2ac 0		/* UART4_RXD (IOCFG179) */
					0x2b0 0		/* UART4_TXD (IOCFG180) */
				>;
				pinctrl-single,bias-pulldown = <0 2 0 2>;
				pinctrl-single,bias-pullup = <0 1 0 1>;
			};
			i2c0_cfg_func: i2c0_cfg_func {
				pinctrl-single,pins = <
					0x17c 0		/* I2C0_SCL (IOCFG103) */
					0x180 0		/* I2C0_SDA (IOCFG104) */
				>;
				pinctrl-single,bias-pulldown = <0 2 0 2>;
				pinctrl-single,bias-pullup = <0 1 0 1>;
				pinctrl-single,drive-strength = <0x30 0xf0>;
			};
			i2c1_cfg_func: i2c1_cfg_func {
				pinctrl-single,pins = <
					0x184 0		/* I2C1_SCL (IOCFG105) */
					0x188 0		/* I2C1_SDA (IOCFG106) */
				>;
				pinctrl-single,bias-pulldown = <0 2 0 2>;
				pinctrl-single,bias-pullup = <0 1 0 1>;
				pinctrl-single,drive-strength = <0x30 0xf0>;
			};
			i2c2_cfg_func: i2c2_cfg_func {
				pinctrl-single,pins = <
					0x118 0		/* I2C2_SCL (IOCFG79) */
					0x11c 0		/* I2C2_SDA (IOCFG80) */
				>;
				pinctrl-single,bias-pulldown = <0 2 0 2>;
				pinctrl-single,bias-pullup = <0 1 0 1>;
				pinctrl-single,drive-strength = <0x30 0xf0>;
			};
			i2c3_cfg_func: i2c3_cfg_func {
				pinctrl-single,pins = <
					0x100 0		/* I2C3_SCL (IOCFG73) */
					0x104 0		/* I2C3_SDA (IOCFG74) */
				>;
				pinctrl-single,bias-pulldown = <0 2 0 2>;
				pinctrl-single,bias-pullup = <0 1 0 1>;
				pinctrl-single,drive-strength = <0x30 0xf0>;
			};
			spi0_cfg_func1: spi0_cfg_func1 {
				pinctrl-single,pins = <
					0x1d4 0		/* SPI0_CLK (IOCFG125) */
					0x1d8 0		/* SPI0_DI (IOCFG126) */
					0x1dc 0		/* SPI0_DO (IOCFG127) */
				>;
				pinctrl-single,bias-pulldown = <2 2 0 2>;
				pinctrl-single,bias-pullup = <0 1 0 1>;
				pinctrl-single,drive-strength = <0x30 0xf0>;
			};
			spi0_cfg_func2: spi0_cfg_func2 {
				pinctrl-single,pins = <
					0x1e0 0		/* SPI0_CS0 (IOCFG128) */
					0x1e4 0		/* SPI0_CS1 (IOCFG129) */
					0x1e8 0		/* SPI0_CS2 (IOCFG130 */
					0x1ec 0		/* SPI0_CS3 (IOCFG131) */
				>;
				pinctrl-single,bias-pulldown = <0 2 0 2>;
				pinctrl-single,bias-pullup = <1 1 0 1>;
				pinctrl-single,drive-strength = <0x30 0xf0>;
			};
			spi1_cfg_func1: spi1_cfg_func1 {
				pinctrl-single,pins = <
					0x1f0 0		/* SPI1_CLK (IOCFG132) */
					0x1f4 0		/* SPI1_DI (IOCFG133) */
					0x1f8 0		/* SPI1_DO (IOCFG134) */
				>;
				pinctrl-single,bias-pulldown = <2 2 0 2>;
				pinctrl-single,bias-pullup = <0 1 0 1>;
				pinctrl-single,drive-strength = <0x30 0xf0>;
			};
			spi1_cfg_func2: spi1_cfg_func2 {
				pinctrl-single,pins = <
					0x1fc 0		/* SPI1_CS (IOCFG135) */
				>;
				pinctrl-single,bias-pulldown = <0 2 0 2>;
				pinctrl-single,bias-pullup = <1 1 0 1>;
				pinctrl-single,drive-strength = <0x30 0xf0>;
			};
			kpc_cfg_func: kpc_cfg_func {
				pinctrl-single,pins = <
					0x250 0		/* KEY_IN0 (IOCFG156) */
					0x254 0		/* KEY_IN1 (IOCFG157) */
					0x258 0		/* KEY_IN2 (IOCFG158) */
					0x230 0		/* KEY_OUT0 (IOCFG148) */
					0x234 0		/* KEY_OUT1 (IOCFG149) */
					0x238 0		/* KEY_OUT2 (IOCFG150) */
				>;
				pinctrl-single,bias-pulldown = <2 2 0 2>;
				pinctrl-single,bias-pullup = <0 1 0 1>;
			};
			emmc_cfg_func: emmc_cfg_func {
				pinctrl-single,pins = <
					0x0ac 0		/* eMMC_CMD (IOCFG40) */
					0x08c 0		/* NAND_DATA8 (IOCFG32) */
					0x090 0		/* NAND_DATA9 (IOCFG33) */
					0x094 0		/* NAND_DATA10 (IOCFG34) */
					0x098 0		/* NAND_DATA11 (IOCFG35) */
					0x09c 0		/* NAND_DATA12 (IOCFG36) */
					0x0a0 0		/* NAND_DATA13 (IOCFG37) */
					0x0a4 0		/* NAND_DATA14 (IOCFG38) */
					0x0a8 0		/* NAND_DATA15 (IOCFG39) */
				>;
				pinctrl-single,bias-pulldown = <0 2 0 2>;
				pinctrl-single,bias-pullup = <1 1 0 1>;
				pinctrl-single,drive-strength = <0x30 0xf0>;
			};
			emmc_cfg_clk_func: pincfg_emmc_clk_func {
				pinctrl-single,pins = <
					0x0b0 0		/* eMMC_CLK (IOCFG41) */
				>;
				pinctrl-single,bias-pulldown = <0 2 0 2>;
				pinctrl-single,bias-pullup = <0 1 0 1>;
				pinctrl-single,drive-strength = <0x30 0xf0>;
			};
			sd_cfg_func1: pincfg_sd_f1 {
				pinctrl-single,pins = <
					0x18c 0		/* SD_CLK (IOCFG107) */
					0x190 0		/* SD_CMD (IOCFG108) */
				>;
				pinctrl-single,bias-pulldown = <2 2 0 2>;
				pinctrl-single,bias-pullup = <0 1 0 1>;
				pinctrl-single,drive-strength = <0x30 0xf0>;
			};
			sd_cfg_func2: sd_cfg_func2 {
				pinctrl-single,pins = <
					0x190 0		/* SD_CMD (IOCFG108) */
					0x194 0		/* SD_DATA0 (IOCFG109) */
					0x198 0		/* SD_DATA1 (IOCFG110) */
					0x19c 0		/* SD_DATA2 (IOCFG111) */
					0x1a0 0		/* SD_DATA3 (IOCFG112) */
				>;
				pinctrl-single,bias-pulldown = <0 2 0 2>;
				pinctrl-single,bias-pullup = <1 1 0 1>;
				pinctrl-single,drive-strength = <0x70 0xf0>;
			};
			nand_cfg_func1: nand_cfg_func1 {
				pinctrl-single,pins = <
					0x03c 0		/* NAND_ALE (IOCFG12) */
					0x040 0		/* NAND_CLE (IOCFG13) */
					0x06c 0		/* NAND_DATA0 (IOCFG24) */
					0x070 0		/* NAND_DATA1 (IOCFG25) */
					0x074 0		/* NAND_DATA2 (IOCFG26) */
					0x078 0		/* NAND_DATA3 (IOCFG27) */
					0x07c 0		/* NAND_DATA4 (IOCFG28) */
					0x080 0		/* NAND_DATA5 (IOCFG29) */
					0x084 0		/* NAND_DATA6 (IOCFG30) */
					0x088 0		/* NAND_DATA7 (IOCFG31) */
					0x08c 0		/* NAND_DATA8 (IOCFG32) */
					0x090 0		/* NAND_DATA9 (IOCFG33) */
					0x094 0		/* NAND_DATA10 (IOCFG34) */
					0x098 0		/* NAND_DATA11 (IOCFG35) */
					0x09c 0		/* NAND_DATA12 (IOCFG36) */
					0x0a0 0		/* NAND_DATA13 (IOCFG37) */
					0x0a4 0		/* NAND_DATA14 (IOCFG38) */
					0x0a8 0		/* NAND_DATA15 (IOCFG39) */
				>;
				pinctrl-single,bias-pulldown = <2 2 0 2>;
				pinctrl-single,bias-pullup = <0 1 0 1>;
				pinctrl-single,drive-strength = <0x30 0xf0>;
			};
			nand_cfg_func2: nand_cfg_func2 {
				pinctrl-single,pins = <
					0x044 0		/* NAND_RE_N (IOCFG14) */
					0x048 0		/* NAND_WE_N (IOCFG15) */
					0x04c 0		/* NAND_CS0_N (IOCFG16) */
					0x050 0		/* NAND_CS1_N (IOCFG17) */
					0x054 0		/* NAND_CS2_N (IOCFG18) */
					0x058 0		/* NAND_CS3_N (IOCFG19) */
					0x05c 0		/* NAND_BUSY0_N (IOCFG20) */
					0x060 0		/* NAND_BUSY1_N (IOCFG21) */
					0x064 0		/* NAND_BUSY2_N (IOCFG22) */
					0x068 0		/* NAND_BUSY3_N (IOCFG23) */
				>;
				pinctrl-single,bias-pulldown = <0 2 0 2>;
				pinctrl-single,bias-pullup = <1 1 0 1>;
				pinctrl-single,drive-strength = <0x30 0xf0>;
			};
			sdio_cfg_func: sdio_cfg_func {
				pinctrl-single,pins = <
					0x1a4 0		/* SDIO0_CLK (IOCG113) */
					0x1a8 0		/* SDIO0_CMD (IOCG114) */
					0x1ac 0		/* SDIO0_DATA0 (IOCG115) */
					0x1b0 0		/* SDIO0_DATA1 (IOCG116) */
					0x1b4 0		/* SDIO0_DATA2 (IOCG117) */
					0x1b8 0		/* SDIO0_DATA3 (IOCG118) */
				>;
				pinctrl-single,bias-pulldown = <2 2 0 2>;
				pinctrl-single,bias-pullup = <0 1 0 1>;
				pinctrl-single,drive-strength = <0x30 0xf0>;
			};
			audio_out_cfg_func: audio_out_cfg_func {
				pinctrl-single,pins = <
					0x200 0		/* GPIO (IOCFG136) */
					0x204 0		/* GPIO (IOCFG137) */
				>;
				pinctrl-single,bias-pulldown = <2 2 0 2>;
				pinctrl-single,bias-pullup = <0 1 0 1>;
			};
			pmic_int_cfg_func: pincfg_pmic_func {
				pinctrl-single,pins = <
					0x018 0		/* GPIO159 (IOCFG003) */
				>;
			};
			/* TP_IRQ need pullup */
			ts_pin_cfg: pincfg_ts_func {
				pinctrl-single,pins = <
					0x010 0		/* GPIO157 (TP_IRQ) */
				>;
				pinctrl-single,bias-pulldown = <0 2 0 2>;
				pinctrl-single,bias-pullup = <1 1 0 1>;
			};
		};
	};

	gpio-keys {
		compatible = "gpio-keys";

		call {
			label = "call";
			gpios = <&gpio17 2 0>;
			linux,code = <169>;	/* KEY_PHONE */
		};
	};
};
